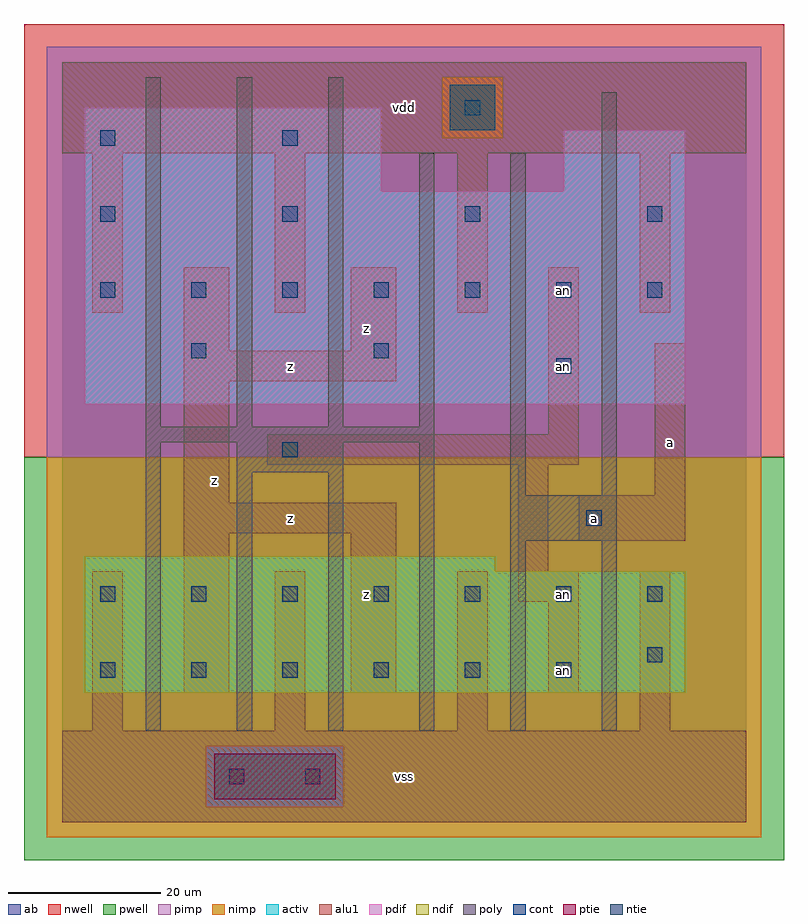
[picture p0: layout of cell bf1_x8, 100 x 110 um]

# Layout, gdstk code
import gdstk
lib = gdstk.Library(unit=1e-6, precision=1e-09)
def R(c, l, rs):  # rectangles x0, y0, x1, y1
    for r in rs: c.add(gdstk.rectangle(r[:2], r[2:], *l))
def A(c, l, x, y, w, h, nx, ny, dx, dy):  # array of equal rectangles
    R(c, l, [(x+i*dx, y+j*dy, x+i*dx+w, y+j*dy+h) for i in range(nx) for j in range(ny)])
ndif = (3, 0)
pdif = (4, 0)
ntie = (5, 0)
ptie = (6, 0)
cont = (25, 0)
pwell = (41, 0)
nwell = (42, 0)
activ = (43, 0)
pimp = (44, 0)
nimp = (45, 0)
poly = (46, 0)
alu1 = (49, 0)
ab = (63, 0)

bf1_x8 = lib.new_cell('bf1_x8')
R(bf1_x8, ndif, [(3,17,82,33), (3,33,57,35)])
R(bf1_x8, pdif, [(3,55,82,83), (3,83,42,94), (66,83,82,91)])
R(bf1_x8, ntie, [(51,91,57,97)])
R(bf1_x8, ptie, [(20,3,36,9)])
A(bf1_x8, cont, 5, 19, 2, 2, 6, 1, 12, 0)
A(bf1_x8, cont, 5, 29, 2, 2, 7, 2, 12, 40)
A(bf1_x8, cont, 5, 79, 2, 2, 4, 1, 24, 0)
R(bf1_x8, cont, [(22,5,24,7), (32,5,34,7), (77,21,79,23), (69,39,71,41), (29,48,31,50), (65,59,67,61), (17,61,19,63), (41,61,43,63), (5,89,7,91), (29,89,31,91), (53,93,55,95)])
R(bf1_x8, pwell, [(-5,-5,95,48)])
R(bf1_x8, nwell, [(-5,48,95,105)])
R(bf1_x8, activ, [(20,3,36,9), (3,17,82,33), (3,33,57,35), (3,55,82,83), (3,83,42,94), (66,83,82,91), (51,91,57,97)])
R(bf1_x8, pimp, [(19,2,37,10), (-2,48,92,90), (-2,90,50,98), (58,90,92,98), (-2,98,92,102)])
R(bf1_x8, nimp, [(-2,-2,92,2), (-2,2,19,10), (37,2,92,10), (-2,10,92,48), (50,90,58,98)])
A(bf1_x8, poly, 11, 52, 2, 46, 3, 1, 12, 0)
R(bf1_x8, poly, [(11,12,13,50), (23,12,25,46), (35,12,37,46), (47,12,49,50), (59,12,61,37), (71,12,73,37), (59,37,73,43), (59,43,61,88), (71,43,73,96), (23,46,37,50), (11,50,49,52), (47,52,49,88)])
A(bf1_x8, alu1, 4, 12, 4, 21, 4, 2, 24, 55)
R(bf1_x8, alu1, [(0,0,90,12), (16,17,22,38), (38,17,44,38), (64,17,68,29), (60,29,68,33), (60,33,64,47), (68,37,82,43), (16,38,44,42), (16,42,22,58), (78,43,82,63), (27,47,68,51), (64,51,68,73), (16,58,44,62), (16,62,22,73), (38,62,44,73), (0,88,90,100)])
R(bf1_x8, ab, [(0,0,90,100)])
bf1_x8.add(gdstk.Label('an', (66,20), layer=49, texttype=0))
bf1_x8.add(gdstk.Label('an', (66,30), layer=49, texttype=0))
bf1_x8.add(gdstk.Label('an', (66,60), layer=49, texttype=0))
bf1_x8.add(gdstk.Label('an', (66,70), layer=49, texttype=0))
bf1_x8.add(gdstk.Label('z', (20,45), layer=49, texttype=0))
bf1_x8.add(gdstk.Label('z', (30,40), layer=49, texttype=0))
bf1_x8.add(gdstk.Label('z', (40,30), layer=49, texttype=0))
bf1_x8.add(gdstk.Label('z', (40,65), layer=49, texttype=0))
bf1_x8.add(gdstk.Label('z', (30,60), layer=49, texttype=0))
bf1_x8.add(gdstk.Label('vss', (45,6), layer=49, texttype=0))
bf1_x8.add(gdstk.Label('vdd', (45,94), layer=49, texttype=0))
bf1_x8.add(gdstk.Label('a', (70,40), layer=49, texttype=0))
bf1_x8.add(gdstk.Label('a', (80,50), layer=49, texttype=0))

lib.write_gds('bf1_x8.gds')
